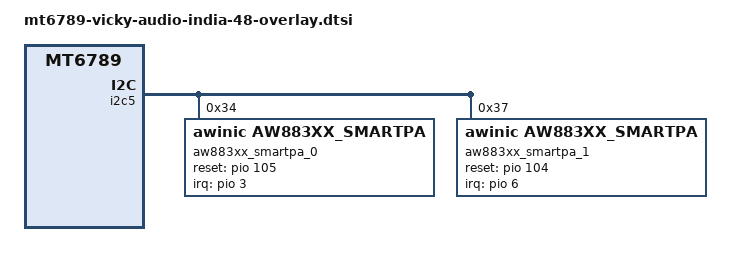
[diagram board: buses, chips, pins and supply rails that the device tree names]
&i2c5 {
	aw883xx_smartpa_0: aw883xx_smartpa@34 {
		compatible = "awinic,aw883xx_smartpa";
		#sound-dai-cells = <0>;
		reset-gpio = <&pio 105 0>;
		irq-gpio = <&pio 3 0>;
		reg = <0x34>;
		sound-channel = <0>;
		re-min = <1000>;
		re-max= <40000>;
		rename-flag=<1>;
		status = "okay";
	};
	aw883xx_smartpa_1: aw883xx_smartpa@37 {
		compatible = "awinic,aw883xx_smartpa";
		#sound-dai-cells = <0>;
		reg = <0x37>;
		reset-gpio = <&pio 104 0>;
		irq-gpio = <&pio 6 0>;
		sound-channel = <1>;
		re-min = <1000>;
		re-max= <40000>;
		rename-flag=<1>;
		status = "okay";
	};
};

&sound {
        mediatek,spk-i2s = <3 0>;
        mediatek,speaker-codec {
		sound-dai = <&aw883xx_smartpa_0 &aw883xx_smartpa_1>;
        };
};

